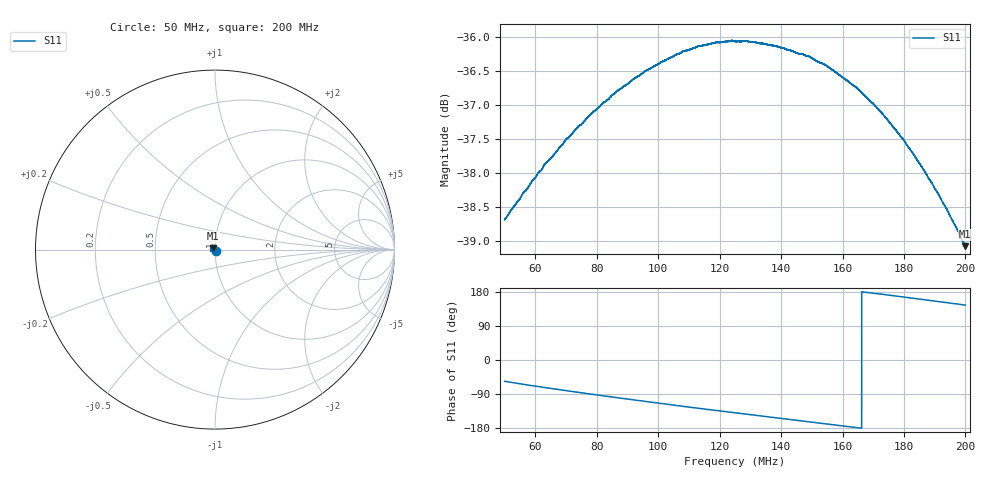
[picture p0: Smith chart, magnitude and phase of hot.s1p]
! COPPER MOUNTAIN TECHNOLOGIES, PLANAR TR1300/1, 00071119, 20.2.2/1.0
! Date: 12/11/2023 2:59:44 PM
! Data: Format [Calibration Info]
! Freq  S11: Re/Im F1
# HZ S RI R 50
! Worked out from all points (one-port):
!   12288 points, 50 MHz to 200 MHz, reference 50 ohm
!   lowest |S11| = -39.1 dB at 200 MHz (marker M1), VSWR 1.02, Z = 49.1 + j0.628 ohm
!   |S11| at or under -10 dB: start of sweep to end of sweep
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5e7  0.00647 -0.00966
5.067144e7  0.00634 -0.00981
6.327012e7  0.00375 -0.0122
6.875153e7  0.00243 -0.013
7.353707e7  0.00123 -0.0135
7.807846e7  -8.49e-06 -0.0139
8.750305e7  -0.00262 -0.0143
9.608529e7  -0.00502 -0.0141
1.062546e8  -0.0078 -0.0133
1.13323e8  -0.00953 -0.0124
1.187922e8  -0.0107 -0.0115
1.250061e8  -0.0119 -0.0103
1.314519e8  -0.013 -0.00885
1.383495e8  -0.0138 -0.00721
1.437576e8  -0.0143 -0.00584
1.492634e8  -0.0147 -0.0044
1.542321e8  -0.0148 -0.0031
1.625092e8  -0.0146 -0.000935
1.64731e8  -0.0145 -0.00038
1.706641e8  -0.0141 0.00108
1.770001e8  -0.0133 0.00253
1.812607e8  -0.0127 0.00342
1.861195e8  -0.0119 0.00435
1.912102e8  -0.011 0.00522
1.940425e8  -0.0104 0.00564
1.993041e8  -0.00924 0.00632
1.999756e8  -0.0091 0.00639
2e8  -0.0091 0.0064
